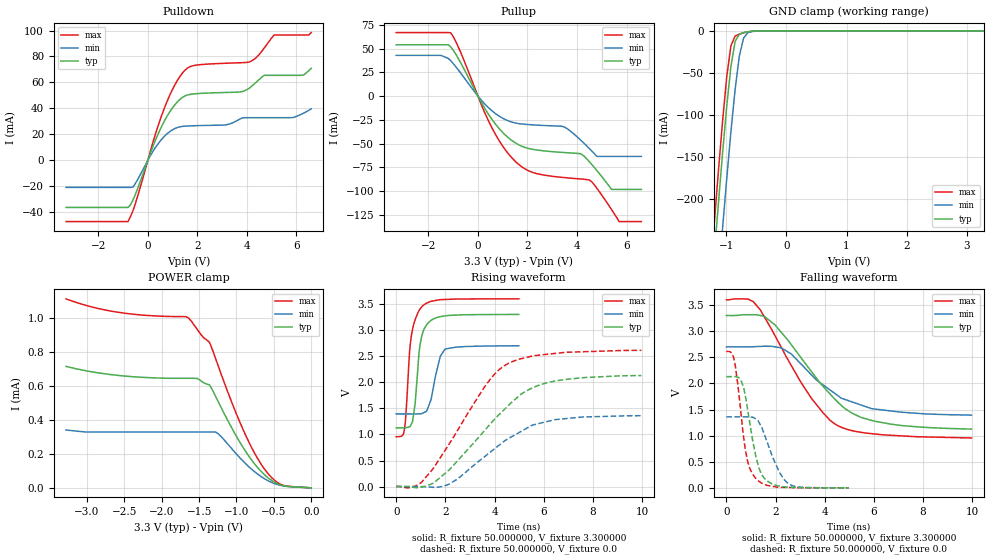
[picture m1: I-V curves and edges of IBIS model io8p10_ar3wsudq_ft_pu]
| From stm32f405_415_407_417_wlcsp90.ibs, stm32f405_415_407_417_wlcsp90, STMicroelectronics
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|   Model io8p10_ar3wsudq_ft_pu
[Model]  io8p10_ar3wsudq_ft_pu
Model_type I/O
Polarity   Non-Inverting
Enable   Active-Low
Vinl =   0.990000V
Vinh =   2.310000V
Vmeas =  1.650000V
Cref =   40.000000pF
Rref =   100.000000M
Vref =   0.0V
C_comp   3.843100pF   3.761700pF   3.937000pF
[Temperature Range]   25.000000   0.125000k   -40.000000
[Pullup Reference]   3.300000V   2.700000V   3.600000V
[Pulldown Reference]   0.0V   0.0V   0.0V
[POWER Clamp Reference]   3.300000V   2.700000V   3.600000V
[GND Clamp Reference]   0.0V   0.0V   0.0V
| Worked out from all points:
|   slope of the pulldown table from 0 to 0.495 V, typ, clamps not added: 20.9 ohm
|   slope of the pullup table from 0 to 0.495 V, typ, clamps not added: 22.6 ohm
|   GND clamp passes 1 mA (typ) near -0.62 V on its own axis
|   rising waveform, R_fixture 50.000000, V_fixture 3.300000: 20-80 % time 272ps typ, 357ps min, 282ps max; typ from 1.12 V to 3.3 V
|   rising waveform, R_fixture 50.000000, V_fixture 0.0: 20-80 % time 2.55ns typ, 2.37ns min, 2.13ns max; typ from 0.001 V to 2.13 V
|   falling waveform, R_fixture 50.000000, V_fixture 3.300000: 20-80 % time 2.28ns typ, 2.16ns min, 2.06ns max; typ from 3.3 V to 1.12 V
|   falling waveform, R_fixture 50.000000, V_fixture 0.0: 20-80 % time 505ps typ, 695ps min, 425ps max; typ from 2.13 V to 0.001 V
[Pulldown]
|Voltage   I(typ)   I(min)   I(max)
-3.3V     -36.18mA   -20.77mA   -47.07mA
-800mV    -36.18mA   -20.77mA   -47.07mA
-600mV    -30.5mA    -20.52mA   -38.69mA
700mV     31.4mA     19.11mA    41.71mA
1.2V      45.15mA    25.37mA    61.75mA
1.6V      50.35mA    26.5mA     71.06mA
3.1V      52.28mA    27.26mA    74.76mA
4.1V      55.65mA    32.89mA    75.79mA
4.7V      65.5mA     32.89mA    86.49mA
5.1V      65.5mA     32.89mA    96.55mA
6.3V      65.83mA    36.49mA    96.55mA
6.6V      70.88mA    39.7mA     98.4mA
[Pullup]
|Voltage   I(typ)   I(min)   I(max)
-3.3V     54.05mA    42.9mA     66.88mA
-1.1V     51.84mA    37.22mA    66.67mA
500mV     -22.06mA   -14mA      -30.03mA
1.5V      -49.1mA    -28.3mA    -68.56mA
2.2V      -56.04mA   -30.32mA   -80.35mA
3.5V      -59.52mA   -32.72mA   -85.91mA
4.2V      -61.52mA   -47.62mA   -87.45mA
4.5V      -69.2mA    -55.26mA   -88.43mA
4.8V      -78.37mA   -63.6mA    -97mA
5.4V      -98.4mA    -63.6mA    -119.7mA
5.7V      -98.4mA    -63.6mA    -132.2mA
6.6V      -98.4mA    -63.6mA    -132.2mA
[GND_clamp]
|Voltage   I(typ)   I(min)   I(max)
-3.3V     -2.327A    -2.405A    -2.301A
-1.2V     -270.2mA   -361.4mA   -232.1mA
-1.13V    -207.3mA   -298.1mA   -169mA
-1.06V    -146.7mA   -236.2mA   -108.8mA
-990mV    -90.18mA   -176.4mA   -54.96mA
-920mV    -42.21mA   -120mA     -17.68mA
-850mV    -12.57mA   -69.47mA   -6.265mA
-780mV    -3.971mA   -30.01mA   -3.886mA
-710mV    -2.1mA     -8.615mA   -2.382mA
-640mV    -1.148mA   -2.283mA   -1.22mA
-570mV    -524uA     -821.5uA   -476.8uA
3.28V     0A         0A         0A
[POWER_clamp]
|Voltage   I(typ)   I(min)   I(max)
-3.28V    715.1uA    340.8uA    1.113mA
-2.6V     662.9uA    328.8uA    1.035mA
-1.64V    645uA      328.8uA    1mA
-1.52V    643.3uA    328.8uA    929.5uA
-1.36V    606.3uA    328.8uA    855.6uA
-1.24V    503.7uA    316.8uA    712.3uA
-960mV    272.5uA    179.4uA    391.9uA
-800mV    165.1uA    110.4uA    239.2uA
-640mV    83.2uA     57.57uA    119.3uA
-520mV    40.52uA    29.83uA    56.09uA
-400mV    15.54uA    13.29uA    18.7uA
0V        0A         0A         0A
[Ramp]
| variable   typ   min   max
dV/dt_r  1.26673/2.54659n   0.81111/2.37409n   1.56382/2.13375n
dV/dt_f  1.28190/2.27080n   0.77550/2.14553n   1.57403/2.05442n
R_load = 50.000000
[Rising Waveform]
R_fixture= 50.000000
V_fixture= 3.300000
V_fixture_min= 2.700000
V_fixture_max= 3.600000
|time   V(typ)   V(min)   V(max)
0s        1.125V     1.393V     955.6mV
300.3ps   1.127V     1.393V     1.008V
370.4ps   1.128V     1.393V     1.221V
550.6ps   1.145V     1.393V     2.621V
670.7ps   1.257V     1.393V     3.031V
1.031ns   2.865V     1.399V     3.443V
1.411ns   3.185V     1.661V     3.551V
1.792ns   3.258V     2.494V     3.584V
1.982ns   3.272V     2.634V     3.587V
4.985ns   3.3V       2.7V       3.599V
[Rising Waveform]
R_fixture= 50.000000
V_fixture= 0.0
V_fixture_min= 0.0
V_fixture_max= 0.0
|time   V(typ)   V(min)   V(max)
0s        1.432mV    1.24mV     1.813mV
480.5ps   -1.451mV   1.18mV     -23.36mV
1.021ns   -10.1mV    -415.6uV   77.63mV
1.522ns   68.96mV    -14.26mV   358mV
2.142ns   315.5mV    44.32mV    808.2mV
3.644ns   1.102V     592mV      1.945V
4.484ns   1.519V     899.5mV    2.342V
5.185ns   1.804V     1.086V     2.464V
6.266ns   2.005V     1.262V     2.543V
9.97ns    2.129V     1.359V     2.612V
[Falling Waveform]
R_fixture= 50.000000
V_fixture= 3.300000
V_fixture_min= 2.700000
V_fixture_max= 3.600000
|time   V(typ)   V(min)   V(max)
0s        3.3V       2.7V       3.599V
1.101ns   3.315V     2.702V     3.563V
1.542ns   3.285V     2.71V      3.277V
2.242ns   2.973V     2.678V     2.683V
2.623ns   2.754V     2.57V      2.358V
3.463ns   2.225V     2.162V     1.713V
4.484ns   1.665V     1.783V     1.205V
5.125ns   1.429V     1.644V     1.095V
5.986ns   1.281V     1.512V     1.035V
9.97ns    1.125V     1.393V     955.6mV
[Falling Waveform]
R_fixture= 50.000000
V_fixture= 0.0
V_fixture_min= 0.0
V_fixture_max= 0.0
|time   V(typ)   V(min)   V(max)
0s        2.129V     1.359V     2.612V
300.3ps   2.13V      1.359V     2.491V
470.5ps   2.118V     1.359V     1.963V
620.6ps   2.031V     1.359V     1.319V
850.9ps   1.548V     1.361V     540.8mV
1.201ns   600.2mV    1.319V     181.2mV
1.592ns   164.4mV    966.1mV    59.02mV
2.162ns   34.09mV    294.9mV    12.95mV
2.472ns   14.56mV    102.6mV    8.938mV
4.985ns   1.432mV    1.24mV     1.813mV
